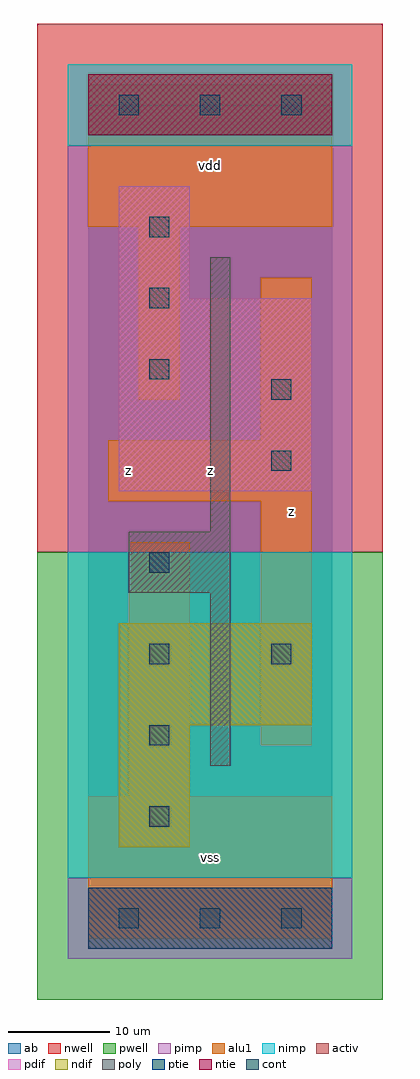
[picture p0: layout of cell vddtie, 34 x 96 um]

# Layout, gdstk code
import gdstk
lib = gdstk.Library(unit=1e-6, precision=1e-09)
def R(c, l, rs):  # rectangles x0, y0, x1, y1
    for r in rs: c.add(gdstk.rectangle(r[:2], r[2:], *l))
def A(c, l, x, y, w, h, nx, ny, dx, dy):  # array of equal rectangles
    R(c, l, [(x+i*dx, y+j*dy, x+i*dx+w, y+j*dy+h) for i in range(nx) for j in range(ny)])
ndif = (3, 0)
pdif = (4, 0)
ntie = (5, 0)
ptie = (6, 0)
cont = (25, 0)
pwell = (41, 0)
nwell = (42, 0)
activ = (43, 0)
pimp = (44, 0)
nimp = (45, 0)
poly = (46, 0)
alu1 = (49, 0)
ab = (63, 0)

vddtie = lib.new_cell('vddtie')
R(vddtie, ndif, [(3,7,10,19), (3,19,22,29)])
R(vddtie, pdif, [(3,42,22,61), (3,61,10,72)])
R(vddtie, ntie, [(0,77,24,83)])
R(vddtie, ptie, [(0,-3,24,3)])
A(vddtie, cont, 3, -1, 2, 2, 3, 2, 8, 80)
A(vddtie, cont, 6, 9, 2, 2, 1, 3, 0, 8)
A(vddtie, cont, 6, 53, 2, 2, 1, 3, 0, 7)
R(vddtie, cont, [(18,25,20,27), (6,34,8,36), (18,44,20,46), (18,51,20,53)])
R(vddtie, pwell, [(-5,-8,29,36)])
R(vddtie, nwell, [(-5,36,29,88)])
R(vddtie, activ, [(0,-3,24,3), (3,7,10,19), (3,19,22,29), (3,42,22,61), (3,61,10,72), (0,77,24,83)])
R(vddtie, pimp, [(-2,-4,26,4), (-2,36,26,76)])
R(vddtie, nimp, [(-2,4,26,36), (-2,76,26,84)])
R(vddtie, poly, [(12,15,14,32), (4,32,14,38), (12,38,14,65)])
R(vddtie, alu1, [(0,-2,24,12), (4,12,10,37), (17,17,22,41), (2,41,22,47), (17,47,22,63), (5,51,9,68), (0,68,24,82)])
R(vddtie, ab, [(0,0,24,80)])
vddtie.add(gdstk.Label('z', (4,44), layer=49, texttype=0))
vddtie.add(gdstk.Label('vss', (12,6), layer=49, texttype=0))
vddtie.add(gdstk.Label('z', (12,44), layer=49, texttype=0))
vddtie.add(gdstk.Label('vdd', (12,74), layer=49, texttype=0))
vddtie.add(gdstk.Label('z', (20,40), layer=49, texttype=0))

lib.write_gds('vddtie.gds')
